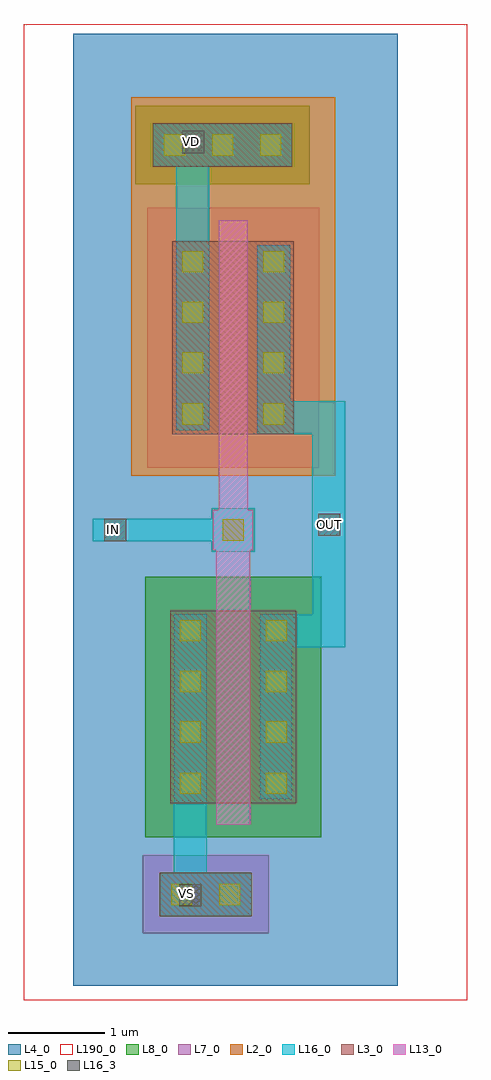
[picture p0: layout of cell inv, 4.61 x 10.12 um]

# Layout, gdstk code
import gdstk
lib = gdstk.Library(unit=1e-6, precision=1e-09)
def R(c, l, rs):  # rectangles x0, y0, x1, y1
    for r in rs: c.add(gdstk.rectangle(r[:2], r[2:], *l))
def A(c, l, x, y, w, h, nx, ny, dx, dy):  # array of equal rectangles
    R(c, l, [(x+i*dx, y+j*dy, x+i*dx+w, y+j*dy+h) for i in range(nx) for j in range(ny)])
L2_0 = (2, 0)
L3_0 = (3, 0)
L4_0 = (4, 0)
L7_0 = (7, 0)
L8_0 = (8, 0)
L13_0 = (13, 0)
L15_0 = (15, 0)
L16_0 = (16, 0)
L16_3 = (16, 3)
L190_0 = (190, 0)

ne3_cdns_707059739800 = lib.new_cell('ne3_CDNS_707059739800')
R(ne3_cdns_707059739800, L3_0, [(-0.48,0,0,2), (0,0,0.35,2), (0.35,0,0.83,2)])
R(ne3_cdns_707059739800, L4_0, [(-0.8,-0.4,1.15,2.4), (-0.8,-0.4,1.15,2.4)])
R(ne3_cdns_707059739800, L8_0, [(-0.74,-0.35,1.09,2.35), (-0.74,-0.35,1.09,2.35)])
R(ne3_cdns_707059739800, L13_0, [(0,-0.22,0.35,0), (0,-0.22,0.35,-0.12), (0,0,0.35,2), (0,2,0.35,2.22), (0,2.12,0.35,2.22)])
A(ne3_cdns_707059739800, L15_0, -0.38, 0.63, 0.22, 0.22, 1, 3, 0, 0.525)
A(ne3_cdns_707059739800, L15_0, 0.51, 0.63, 0.22, 0.22, 1, 3, 0, 0.525)
R(ne3_cdns_707059739800, L15_0, [(-0.38,0.1,-0.16,0.32), (0.51,0.1,0.73,0.32)])
ne3_cdns_707059739800.add(gdstk.FlexPath([(0.62,0.04),(0.62,1.96)], 0.34, ends="flush", simple_path=True, layer=16, datatype=0))  # L16_0
ne3_cdns_707059739800.add(gdstk.FlexPath([(-0.27,0.04),(-0.27,1.96)], 0.34, ends="flush", simple_path=True, layer=16, datatype=0))  # L16_0
ne3_cdns_707059739800.add(gdstk.Label('G', (0.175,-0.17), layer=13, texttype=0))
ne3_cdns_707059739800.add(gdstk.Label('G', (0.175,2.17), layer=13, texttype=0))
ne3_cdns_707059739800.add(gdstk.Label('D', (0.59,1), layer=3, texttype=0))
ne3_cdns_707059739800.add(gdstk.Label('S', (-0.24,1), layer=3, texttype=0))
ne3_cdns_707059739800.add(gdstk.Label('D', (0.62,0.04), layer=16, texttype=0))
ne3_cdns_707059739800.add(gdstk.Label('S', (-0.27,0.04), layer=16, texttype=0))
ne3_cdns_707059739800.add(gdstk.Label('[@instanceName]', (0.175,1), layer=230, texttype=0))

pe3_cdns_707059739801 = lib.new_cell('pe3_CDNS_707059739801')
R(pe3_cdns_707059739801, L2_0, [(-0.91,-0.43,1.21,2.43)])
R(pe3_cdns_707059739801, L3_0, [(-0.48,0,0,2), (0,0,0.3,2), (0.3,0,0.78,2)])
R(pe3_cdns_707059739801, L4_0, [(-1.51,-1.03,1.81,3.03), (-1.51,-1.03,1.81,3.03), (-1.51,-1.03,1.81,3.03)])
R(pe3_cdns_707059739801, L7_0, [(-0.74,-0.35,1.04,2.35), (-0.74,-0.35,1.04,2.35)])
R(pe3_cdns_707059739801, L13_0, [(0,-0.22,0.3,0), (0,-0.22,0.3,-0.12), (0,0,0.3,2), (0,2,0.3,2.22), (0,2.12,0.3,2.22)])
A(pe3_cdns_707059739801, L15_0, -0.38, 0.63, 0.22, 0.22, 1, 3, 0, 0.525)
A(pe3_cdns_707059739801, L15_0, 0.46, 0.63, 0.22, 0.22, 1, 3, 0, 0.525)
R(pe3_cdns_707059739801, L15_0, [(-0.38,0.1,-0.16,0.32), (0.46,0.1,0.68,0.32)])
pe3_cdns_707059739801.add(gdstk.FlexPath([(0.57,0.04),(0.57,1.96)], 0.34, ends="flush", simple_path=True, layer=16, datatype=0))  # L16_0
pe3_cdns_707059739801.add(gdstk.FlexPath([(-0.27,0.04),(-0.27,1.96)], 0.34, ends="flush", simple_path=True, layer=16, datatype=0))  # L16_0
pe3_cdns_707059739801.add(gdstk.Label('G', (0.15,-0.17), layer=13, texttype=0))
pe3_cdns_707059739801.add(gdstk.Label('G', (0.15,2.17), layer=13, texttype=0))
pe3_cdns_707059739801.add(gdstk.Label('D', (0.54,1), layer=3, texttype=0))
pe3_cdns_707059739801.add(gdstk.Label('S', (-0.24,1), layer=3, texttype=0))
pe3_cdns_707059739801.add(gdstk.Label('D', (0.57,0.04), layer=16, texttype=0))
pe3_cdns_707059739801.add(gdstk.Label('S', (-0.27,0.04), layer=16, texttype=0))
pe3_cdns_707059739801.add(gdstk.Label('[@instanceName]', (0.15,1), layer=230, texttype=0))

p1_c_cdns_707059739800 = lib.new_cell('P1_C_CDNS_707059739800')
R(p1_c_cdns_707059739800, L13_0, [(-0.21,-0.21,0.21,0.21)])
R(p1_c_cdns_707059739800, L15_0, [(-0.11,-0.11,0.11,0.11)])
R(p1_c_cdns_707059739800, L16_0, [(-0.225,-0.225,0.225,0.225)])

nd_c_cdns_707059739801 = lib.new_cell('ND_C_CDNS_707059739801')
R(nd_c_cdns_707059739801, L3_0, [(-0.725,-0.225,0.725,0.225)])
R(nd_c_cdns_707059739801, L8_0, [(-0.905,-0.405,0.905,0.405)])
A(nd_c_cdns_707059739801, L15_0, -0.61, -0.11, 0.22, 0.22, 3, 1, 0.5, 0)
R(nd_c_cdns_707059739801, L16_0, [(-0.725,-0.225,0.725,0.225)])

pd_c_cdns_707059739802 = lib.new_cell('PD_C_CDNS_707059739802')
R(pd_c_cdns_707059739802, L3_0, [(-0.475,-0.225,0.475,0.225)])
R(pd_c_cdns_707059739802, L7_0, [(-0.655,-0.405,0.655,0.405)])
R(pd_c_cdns_707059739802, L15_0, [(-0.36,-0.11,-0.14,0.11), (0.14,-0.11,0.36,0.11)])
R(pd_c_cdns_707059739802, L16_0, [(-0.475,-0.225,0.475,0.225)])

inv = lib.new_cell('inv')
R(inv, L2_0, [(1.115,7.885,3.235,9.365)])
R(inv, L4_0, [(0.515,0.15,3.88,10.025)])
R(inv, L13_0, [(2,4.15,2.35,4.98), (2.025,4.76,2.325,5.76)])
R(inv, L16_0, [(1.51,0.91,2.09,1.23), (1.505,8.735,2.04,9.065)])
R(inv, L16_3, [(1.615,0.97,1.845,1.2), (0.835,4.76,1.065,4.99), (3.055,4.815,3.285,5.045), (1.645,8.785,1.875,9.015)])
R(inv, L190_0, [(0,0,4.605,10.125)])
inv.add(gdstk.FlexPath([(1.73,2.455),(1.73,1.07)], 0.34, ends="flush", simple_path=True, layer=16, datatype=0))  # L16_0
inv.add(gdstk.FlexPath([(1.755,7.435),(1.755,8.905)], 0.34, ends="flush", simple_path=True, layer=16, datatype=0))  # L16_0
inv.add(gdstk.FlexPath([(2.175,4.875),(0.72,4.875)], 0.23, ends="flush", simple_path=True, layer=16, datatype=0))  # L16_0
inv.add(gdstk.FlexPath([(3.165,3.83),(2.62,3.83)], 0.34, ends=(0.17, 0), simple_path=True, layer=16, datatype=0))  # L16_0
inv.add(gdstk.FlexPath([(3.165,6.04),(3.165,3.83)], 0.34, ends="extended", simple_path=True, layer=16, datatype=0))  # L16_0
inv.add(gdstk.FlexPath([(2.595,6.04),(3.165,6.04)], 0.34, ends="extended", simple_path=True, layer=16, datatype=0))  # L16_0
inv.add(gdstk.FlexPath([(2.595,6.295),(2.595,6.04)], 0.34, ends=(0, 0.17), simple_path=True, layer=16, datatype=0))  # L16_0
inv.add(gdstk.Reference(ne3_cdns_707059739800, (2,2.04)))
inv.add(gdstk.Reference(pe3_cdns_707059739801, (2.025,5.87)))
inv.add(gdstk.Reference(p1_c_cdns_707059739800, (2.175,4.875)))
inv.add(gdstk.Reference(nd_c_cdns_707059739801, (2.065,8.87)))
inv.add(gdstk.Reference(pd_c_cdns_707059739802, (1.89,1.095)))
inv.add(gdstk.Label('VS', (1.695,1.11), layer=16, texttype=0))
inv.add(gdstk.Label('VD', (1.74,8.91), layer=16, texttype=0))
inv.add(gdstk.Label('VD', (1.755,8.915), layer=16, texttype=3))
inv.add(gdstk.Label('OUT', (3.17,4.93), layer=16, texttype=3))
inv.add(gdstk.Label('IN', (0.935,4.88), layer=16, texttype=3))
inv.add(gdstk.Label('OUT', (3.145,4.95), layer=16, texttype=3))
inv.add(gdstk.Label('OUT', (3.17,4.93), layer=16, texttype=3))
inv.add(gdstk.Label('IN', (0.95,4.875), layer=16, texttype=3))
inv.add(gdstk.Label('VS', (1.73,1.085), layer=16, texttype=3))
inv.add(gdstk.Label('VD', (1.76,8.9), layer=16, texttype=3))

lib.write_gds('inv.gds')
